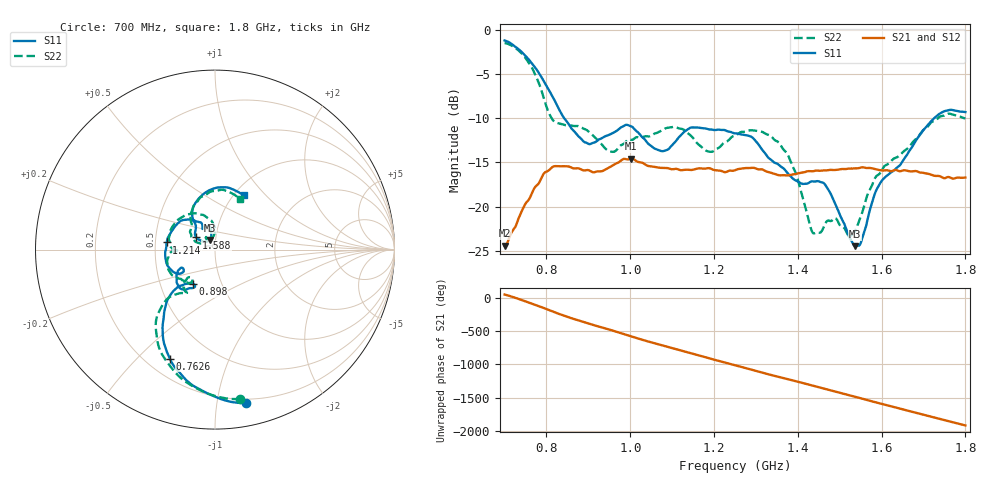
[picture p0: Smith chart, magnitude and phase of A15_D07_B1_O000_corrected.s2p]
! Created with skrf 1.9.0 (http://scikit-rf.org).
# Hz S RI R 50.0
!freq ReS11 ImS11 ReS21 ImS21 ReS12 ImS12 ReS22 ImS22
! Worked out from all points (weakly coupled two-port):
!   1601 points, 700 MHz to 1.8 GHz, reference 50 ohm
!   highest |S21| = -14.57 dB at 1.002 GHz (marker M1); lowest = -24.4 dB at 701.4 MHz (marker M2)
!   lowest |S11| = -24.5 dB at 1.537 GHz (marker M3), VSWR 1.13, Z = 47.2 + j5.07 ohm
!   |S11| at or under -10 dB: 842.4 MHz to 1.725 GHz (882.9 MHz wide, 68.8 % of centre)
!   |S22| runs from -23.4 to -1.5 dB; largest |S21 - S12| = 0.0036
!   S11 on the Smith chart (normalised r, x): 700 MHz: 0.17, -1.21; 762.6 MHz: 0.29, -0.63; 898 MHz: 0.73, -0.29; 1.214 GHz: 0.57, +0.05; 1.588 GHz: 0.80, +0.11; 1.8 GHz: 1.12, +0.76
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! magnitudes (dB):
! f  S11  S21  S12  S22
! 700 MHz  -1.2  -24.4  -24.2  -1.5
! 701.4 MHz  -1.2  -24.4  -24.0  -1.5
! 762.6 MHz  -3.6  -18.8  -18.8  -4.1
! 815.5 MHz  -7.6  -15.5  -15.6  -10.2
! 883.6 MHz  -12.4  -15.8  -15.7  -11.0
! 898 MHz  -12.8  -15.9  -15.9  -11.4
! 953.7 MHz  -11.8  -15.5  -15.5  -13.8
! 1.002 GHz  -10.9  -14.6  -14.7  -12.5
! 1.067 GHz  -13.6  -15.6  -15.5  -11.6
! 1.144 GHz  -11.1  -15.9  -15.9  -11.9
! 1.214 GHz  -11.3  -15.9  -15.9  -13.3
! 1.25 GHz  -11.7  -15.9  -15.8  -12.0
! 1.356 GHz  -15.3  -16.5  -16.4  -12.8
! 1.394 GHz  -17.0  -16.3  -16.3  -16.1
! 1.434 GHz  -17.1  -16.0  -16.0  -22.8
! 1.469 GHz  -17.8  -15.9  -15.9  -21.7
! 1.537 GHz  -24.5  -15.7  -15.7  -22.8
! 1.552 GHz  -23.9  -15.6  -15.6  -20.9
! 1.588 GHz  -18.1  -15.8  -15.8  -16.5
! 1.617 GHz  -16.3  -15.9  -15.9  -15.1
! 1.733 GHz  -9.7  -16.5  -16.6  -10.1
! 1.8 GHz  -9.3  -16.7  -16.7  -10.0
